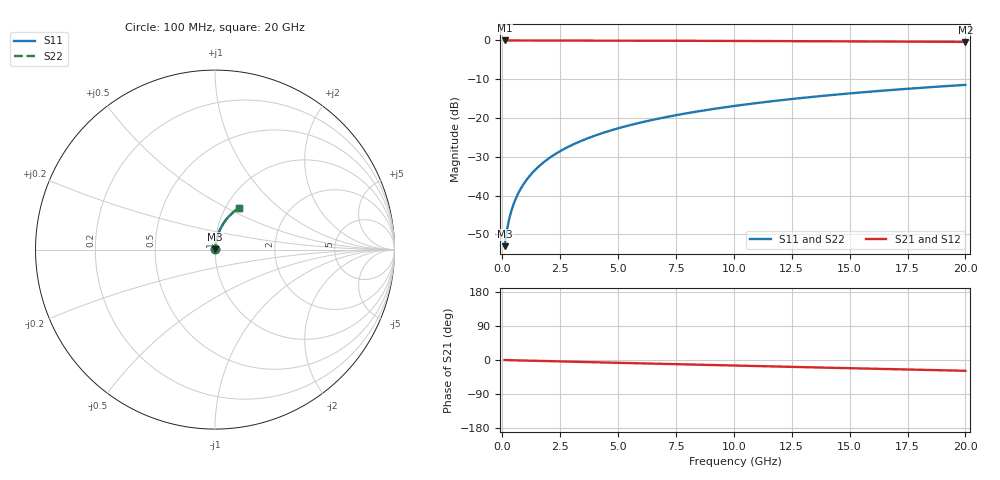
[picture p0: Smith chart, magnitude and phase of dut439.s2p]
! Touchstone file exported from HFSS 2026.1.0
!  File:  C:/ffzhzh/LocalFiles/Ansys_Project_Files/temp_train_BSMRDL_439_1783013073_4048.aedt
!  Generated:  01:25:56 AM Jul  3, 2026
!  Design:  BSMRDL
!  Project:  temp_train_BSMRDL_439_1783013073_4048
! Variables:
!  h_bsmrdl = 4.32um
!  h_ox = 20um
!  h_rdl = 5um
!  h_sub = 80um
!  h_tmrdl = 5um
!  h_tsv = 80um
!  h_via = 3um
!  l_bsmrdl = 391.84um
!  l_sub = 791.84um
!  l_tmrdl = 200um
!  m_sub = 200um
!  pitch = 51.83um
!  r_tsv = 6um
!  s_tmrdl = 10um
!  w_bsmrdl = 24.38um
!  w_sub = 500um
!  w_tmrdl = 12um
!  x_tsv_center1 = 206um
!  x_tsv_center2 = 622.22um
!  x_tsv_center3 = 834.22um
!  x_tsv_center4 = 1250.44um
!  x_tsv_center5 = 1462.44um
!  x_tsv_center6 = 1878.66um
# GHz S MA R 50.000000
! Terminal data exported
! Port[1] = BSM_RDL1_1_T1
! Port[2] = BSM_RDL1_1_T2
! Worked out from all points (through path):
!   200 points, 100 MHz to 20 GHz, reference 50 ohm
!   highest |S21| = -0.01 dB at 100 MHz (marker M1); lowest = -0.4 dB at 20 GHz (marker M2)
!   group delay of S21, straight-line fit = 3.95 ps
!   lowest |S11| = -53.0 dB at 100 MHz (marker M3), VSWR 1.00, Z = 50.2 + j0.164 ohm
!   |S11| at or under -10 dB: start of sweep to end of sweep
!   |S22| runs from -53.0 to -11.5 dB; largest |S21 - S12| = 2.4e-15
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0.1  0.002227 47.1  0.9985 -0.2  0.9985 -0.2  0.002227 47.1
! Gamma 0 0 0 0
! Port Impedance 50 0 50 0
0.2  0.003593 63.1  0.9984 -0.3  0.9984 -0.3  0.003593 63.1
0.3  0.005033 69.8  0.9983 -0.5  0.9983 -0.5  0.005033 69.8
0.4  0.006477 73.5  0.9982 -0.6  0.9982 -0.6  0.006477 73.5
0.5  0.007925 75.9  0.9982 -0.8  0.9982 -0.8  0.007925 75.9
0.7  0.01084 78.8  0.9981 -1.1  0.9981 -1.1  0.01084 78.8
0.8  0.0123 79.7  0.998 -1.2  0.998 -1.2  0.0123 79.7
1  0.01524 81.0  0.9979 -1.5  0.9979 -1.5  0.01524 81.0
1.2  0.01819 81.8  0.9978 -1.8  0.9978 -1.8  0.01819 81.8
1.4  0.02114 82.2  0.9977 -2.1  0.9977 -2.1  0.02114 82.2
1.7  0.02558 82.6  0.9975 -2.5  0.9975 -2.5  0.02558 82.6
2  0.03001 82.7  0.9973 -3.0  0.9973 -3.0  0.03001 82.7
2.7  0.04031 82.4  0.9967 -4.0  0.9967 -4.0  0.04031 82.4
3.5  0.05198 81.7  0.9958 -5.2  0.9958 -5.2  0.05198 81.7
4.2  0.0621 80.9  0.9949 -6.2  0.9949 -6.2  0.0621 80.9
5  0.07356 79.9  0.9938 -7.4  0.9938 -7.4  0.07356 79.9
6.8  0.0989 77.5  0.9909 -10.0  0.9909 -10.0  0.0989 77.5
8.3  0.1196 75.5  0.9881 -12.2  0.9881 -12.2  0.1196 75.5
10.1  0.144 73.1  0.9843 -14.8  0.9843 -14.8  0.144 73.1
13.4  0.1872 68.7  0.9763 -19.4  0.9763 -19.4  0.1872 68.7
16.7  0.2284 64.3  0.9669 -24.0  0.9669 -24.0  0.2284 64.4
20  0.2672 60.0  0.9565 -28.5  0.9565 -28.5  0.2672 60.0
